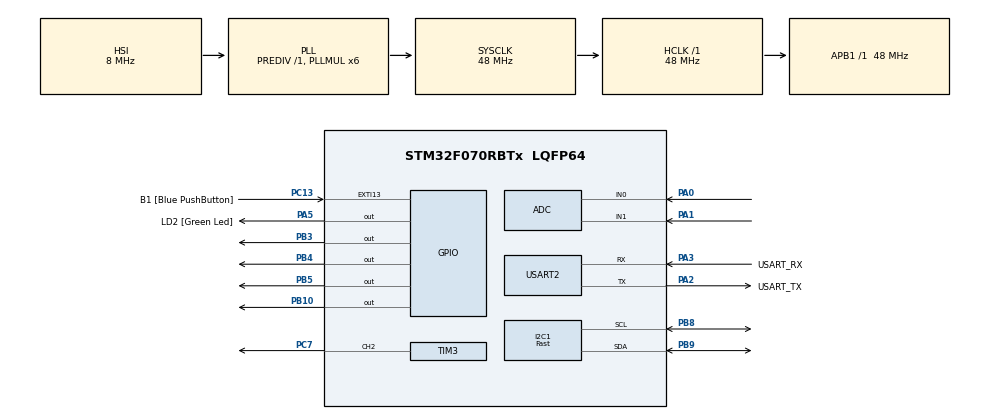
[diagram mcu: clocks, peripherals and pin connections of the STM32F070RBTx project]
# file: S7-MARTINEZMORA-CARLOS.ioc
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ADC.DiscontinuousConvMode=ENABLE
ADC.SamplingTime=ADC_SAMPLETIME_13CYCLES_5
FREERTOS.BinarySemaphores01=Adc_Sem,Dynamic,NULL;Rx_Sem,Dynamic,NULL
FREERTOS.Queues01=lock_queue,5,lock_q,0,Dynamic,NULL,NULL
FREERTOS.Tasks01=defaultTask,8,64,StartDefaultTask,Default,NULL,Dynamic,NULL,NULL;OLED,8,192,oled_update,Default,NULL,Dynamic,NULL,NULL;ADC,8,64,adc_read,Default,NULL,Dynamic,NULL,NULL;SERVO,9,64,servo_pos,Default,NULL,Dynamic,NULL,NULL;STEPPER,8,64,stepper_fx,Default,NULL,Dynamic,NULL,NULL;SERIAL,8,128,serial_fx,Default,NULL,Dynamic,NULL,NULL;LOCK,8,64,servo_lock,Default,NULL,Dynamic,NULL,NULL
FREERTOS.configMINIMAL_STACK_SIZE=64
FREERTOS.configTOTAL_HEAP_SIZE=4096
FREERTOS.configUSE_NEWLIB_REENTRANT=1
I2C1.I2C_Speed_Mode=I2C_Fast
I2C1.Timing=0x0000020B
Mcu.Family=STM32F0
Mcu.Name=STM32F070RBTx
Mcu.Package=LQFP64
NVIC.ADC1_IRQn=true\:3\:0\:false\:false\:true\:true\:true\:true\:true
NVIC.TIM1_BRK_UP_TRG_COM_IRQn=true\:3\:0\:false\:false\:true\:false\:false\:true\:true
NVIC.TimeBase=TIM1_BRK_UP_TRG_COM_IRQn
NVIC.TimeBaseIP=TIM1
NVIC.USART2_IRQn=true\:3\:0\:false\:false\:true\:true\:true\:true\:true
PA0.Mode=IN0
PA0.Signal=ADC_IN0
PA1.Mode=IN1
PA1.Signal=ADC_IN1
PA13.GPIO_Label=TMS
PA13.Mode=Serial_Wire
PA13.Signal=SYS_SWDIO
PA14.GPIO_Label=TCK
PA14.Mode=Serial_Wire
PA14.Signal=SYS_SWCLK
PA2.GPIO_Label=USART_TX
PA2.Mode=Asynchronous
PA2.Signal=USART2_TX
PA3.GPIO_Label=USART_RX
PA3.Mode=Asynchronous
PA3.Signal=USART2_RX
PA5.GPIO_Label=LD2 [Green Led]
PA5.Signal=GPIO_Output
PB10.Signal=GPIO_Output
PB3.Signal=GPIO_Output
PB4.Signal=GPIO_Output
PB5.Signal=GPIO_Output
PB8.Mode=I2C
PB8.Signal=I2C1_SCL
PB9.Mode=I2C
PB9.Signal=I2C1_SDA
PC13.GPIO_Label=B1 [Blue PushButton]
PC13.GPIO_ModeDefaultEXTI=GPIO_MODE_IT_FALLING
PC13.Signal=GPXTI13
PC14-OSC32_IN.GPIO_Label=RCC_OSC32_IN
PC14-OSC32_IN.Mode=LSE-External-Oscillator
PC14-OSC32_IN.Signal=RCC_OSC32_IN
PC15-OSC32_OUT.GPIO_Label=RCC_OSC32_OUT
PC15-OSC32_OUT.Mode=LSE-External-Oscillator
PC15-OSC32_OUT.Signal=RCC_OSC32_OUT
PC7.Signal=S_TIM3_CH2
PF0-OSC_IN.GPIO_Label=RCC_OSC_IN
PF0-OSC_IN.Mode=HSE-External-Clock-Source
PF0-OSC_IN.Signal=RCC_OSC_IN
PF1-OSC_OUT.GPIO_Label=RCC_OSC_OUT
PF1-OSC_OUT.Signal=RCC_OSC_OUT
ProjectManager.HeapSize=0x200
ProjectManager.StackSize=0x400
ProjectManager.TargetToolchain=STM32CubeIDE
RCC.AHBFreq_Value=48000000
RCC.APB1Freq_Value=48000000
RCC.APB1TimFreq_Value=48000000
RCC.HCLKFreq_Value=48000000
RCC.PLLMUL=RCC_PLL_MUL6
RCC.SYSCLKFreq_VALUE=48000000
RCC.SYSCLKSource=RCC_SYSCLKSOURCE_PLLCLK
SH.S_TIM3_CH2.0=TIM3_CH2,PWM Generation2 CH2
TIM3.Channel-PWM\ Generation2\ CH2=TIM_CHANNEL_2
TIM3.Period=2000-1
TIM3.Prescaler=480-1
USART2.VirtualMode-Asynchronous=VM_ASYNC
VP_FREERTOS_VS_CMSIS_V2.Mode=CMSIS_V2
VP_SYS_VS_tim1.Mode=TIM1
VP_TIM3_VS_ClockSourceINT.Mode=Internal
board=NUCLEO-F070RB

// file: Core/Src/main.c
/* USER CODE BEGIN Header */
/**
  ******************************************************************************
  * @file           : main.c
  * @brief          : Main program body
  ******************************************************************************
  * @attention
  *
  * Copyright (c) 2022 STMicroelectronics.
  * All rights reserved.
  *
  * This software is licensed under terms that can be found in the LICENSE file
  * in the root directory of this software component.
  * If no LICENSE file comes with this software, it is provided AS-IS.
  *
  ******************************************************************************
  */
/* USER CODE END Header */
#include "main.h"
#include "cmsis_os.h"

/* USER CODE BEGIN Includes */
#include "u8g2.h"
#include "ICI2022.h"
#include <stdbool.h>
#include <stdio.h>
#include <stdlib.h>

/* USER CODE END Includes */

ADC_HandleTypeDef hadc;

I2C_HandleTypeDef hi2c1;

TIM_HandleTypeDef htim3;

UART_HandleTypeDef huart2;

/* Definitions for defaultTask */
osThreadId_t defaultTaskHandle;
const osThreadAttr_t defaultTask_attributes = {
  .name = "defaultTask",
  .stack_size = 64 * 4,
  .priority = (osPriority_t) osPriorityLow,
};
/* Definitions for OLED */
osThreadId_t OLEDHandle;
const osThreadAttr_t OLED_attributes = {
  .name = "OLED",
  .stack_size = 192 * 4,
  .priority = (osPriority_t) osPriorityLow,
};
/* Definitions for ADC */
osThreadId_t ADCHandle;
const osThreadAttr_t ADC_attributes = {
  .name = "ADC",
  .stack_size = 64 * 4,
  .priority = (osPriority_t) osPriorityLow,
};
/* Definitions for SERVO */
osThreadId_t SERVOHandle;
const osThreadAttr_t SERVO_attributes = {
  .name = "SERVO",
  .stack_size = 64 * 4,
  .priority = (osPriority_t) osPriorityLow1,
};
/* Definitions for STEPPER */
osThreadId_t STEPPERHandle;
const osThreadAttr_t STEPPER_attributes = {
  .name = "STEPPER",
  .stack_size = 64 * 4,
  .priority = (osPriority_t) osPriorityLow,
};
/* Definitions for SERIAL */
osThreadId_t SERIALHandle;
const osThreadAttr_t SERIAL_attributes = {
  .name = "SERIAL",
  .stack_size = 128 * 4,
  .priority = (osPriority_t) osPriorityLow,
};
/* Definitions for LOCK */
osThreadId_t LOCKHandle;
const osThreadAttr_t LOCK_attributes = {
  .name = "LOCK",
  .stack_size = 64 * 4,
  .priority = (osPriority_t) osPriorityLow,
};
/* Definitions for lock_queue */
osMessageQueueId_t lock_queueHandle;
const osMessageQueueAttr_t lock_queue_attributes = {
  .name = "lock_queue"
};
/* Definitions for Adc_Sem */
osSemaphoreId_t Adc_SemHandle;
const osSemaphoreAttr_t Adc_Sem_attributes = {
  .name = "Adc_Sem"
};
/* Definitions for Rx_Sem */
osSemaphoreId_t Rx_SemHandle;
const osSemaphoreAttr_t Rx_Sem_attributes = {
  .name = "Rx_Sem"
};
/* USER CODE BEGIN PV */
static adc_q adc_value = {0, 0, 0.0, 0.0, true};
static lock_q segvel_value;
static uint8_t buf[5];
static unsigned short periodo = 2;
static uint16_t periodo_temp = 100;
static enum giro giro_stepper;
u8g2_t u8g2;
/* USER CODE END PV */

void SystemClock_Config(void);
static void MX_GPIO_Init(void);
static void MX_USART2_UART_Init(void);
static void MX_ADC_Init(void);
static void MX_I2C1_Init(void);
static void MX_TIM3_Init(void);
void StartDefaultTask(void *argument);
void oled_update(void *argument);
void adc_read(void *argument);
void servo_pos(void *argument);
void stepper_fx(void *argument);
void serial_fx(void *argument);
void servo_lock(void *argument);

int main(void)
{

  /* MCU Configuration--------------------------------------------------------*/

  /* Reset of all peripherals, Initializes the Flash interface and the Systick. */
  HAL_Init();

  /* Configure the system clock */
  SystemClock_Config();

  /* Initialize all configured peripherals */
  MX_GPIO_Init();
  MX_USART2_UART_Init();
  MX_ADC_Init();
  MX_I2C1_Init();
  MX_TIM3_Init();
  /* USER CODE BEGIN 2 */
  ICI2022_Init(&hi2c1, &huart2);
  calc_rpm();

  /* USER CODE END 2 */

  /* Init scheduler */
  osKernelInitialize();

  /* Create the semaphores(s) */
  /* creation of Adc_Sem */
  Adc_SemHandle = osSemaphoreNew(1, 1, &Adc_Sem_attributes);

  /* creation of Rx_Sem */
  Rx_SemHandle = osSemaphoreNew(1, 1, &Rx_Sem_attributes);

  /* USER CODE BEGIN RTOS_SEMAPHORES */
  /* add semaphores, ... */
  Rx_SemHandle = osSemaphoreNew(1, 0, &Rx_Sem_attributes);
  /* USER CODE END RTOS_SEMAPHORES */

  /* Create the queue(s) */
  /* creation of lock_queue */
  lock_queueHandle = osMessageQueueNew (5, sizeof(lock_q), &lock_queue_attributes);

  /* Create the thread(s) */
  /* creation of defaultTask */
  defaultTaskHandle = osThreadNew(StartDefaultTask, NULL, &defaultTask_attributes);

  /* creation of OLED */
  OLEDHandle = osThreadNew(oled_update, NULL, &OLED_attributes);

  /* creation of ADC */
  ADCHandle = osThreadNew(adc_read, NULL, &ADC_attributes);

  /* creation of SERVO */
  SERVOHandle = osThreadNew(servo_pos, NULL, &SERVO_attributes);

  /* creation of STEPPER */
  STEPPERHandle = osThreadNew(stepper_fx, NULL, &STEPPER_attributes);

  /* creation of SERIAL */
  SERIALHandle = osThreadNew(serial_fx, NULL, &SERIAL_attributes);

  /* creation of LOCK */
  LOCKHandle = osThreadNew(servo_lock, NULL, &LOCK_attributes);

  /* Start scheduler */
  osKernelStart();

  /* We should never get here as control is now taken by the scheduler */
  /* Infinite loop */
  while (1)
  {

  }
}

void SystemClock_Config(void)
{
  RCC_OscInitTypeDef RCC_OscInitStruct = {0};
  RCC_ClkInitTypeDef RCC_ClkInitStruct = {0};
  RCC_PeriphCLKInitTypeDef PeriphClkInit = {0};

  /** Initializes the RCC Oscillators according to the specified parameters
  * in the RCC_OscInitTypeDef structure.
  */
  RCC_OscInitStruct.OscillatorType = RCC_OSCILLATORTYPE_HSI|RCC_OSCILLATORTYPE_HSI14;
  RCC_OscInitStruct.HSIState = RCC_HSI_ON;
  RCC_OscInitStruct.HSI14State = RCC_HSI14_ON;
  RCC_OscInitStruct.HSICalibrationValue = RCC_HSICALIBRATION_DEFAULT;
  RCC_OscInitStruct.HSI14CalibrationValue = 16;
  RCC_OscInitStruct.PLL.PLLState = RCC_PLL_ON;
  RCC_OscInitStruct.PLL.PLLSource = RCC_PLLSOURCE_HSI;
  RCC_OscInitStruct.PLL.PLLMUL = RCC_PLL_MUL6;
  RCC_OscInitStruct.PLL.PREDIV = RCC_PREDIV_DIV1;
  if (HAL_RCC_OscConfig(&RCC_OscInitStruct) != HAL_OK)
  {
    Error_Handler();
  }

  /** Initializes the CPU, AHB and APB buses clocks
  */
  RCC_ClkInitStruct.ClockType = RCC_CLOCKTYPE_HCLK|RCC_CLOCKTYPE_SYSCLK
                              |RCC_CLOCKTYPE_PCLK1;
  RCC_ClkInitStruct.SYSCLKSource = RCC_SYSCLKSOURCE_PLLCLK;
  RCC_ClkInitStruct.AHBCLKDivider = RCC_SYSCLK_DIV1;
  RCC_ClkInitStruct.APB1CLKDivider = RCC_HCLK_DIV1;

  if (HAL_RCC_ClockConfig(&RCC_ClkInitStruct, FLASH_LATENCY_1) != HAL_OK)
  {
    Error_Handler();
  }
  PeriphClkInit.PeriphClockSelection = RCC_PERIPHCLK_I2C1;
  PeriphClkInit.I2c1ClockSelection = RCC_I2C1CLKSOURCE_HSI;
  if (HAL_RCCEx_PeriphCLKConfig(&PeriphClkInit) != HAL_OK)
  {
    Error_Handler();
  }
}

static void MX_ADC_Init(void)
{

  ADC_ChannelConfTypeDef sConfig = {0};

  /** Configure the global features of the ADC (Clock, Resolution, Data Alignment and number of conversion)
  */
  hadc.Instance = ADC1;
  hadc.Init.ClockPrescaler = ADC_CLOCK_ASYNC_DIV1;
  hadc.Init.Resolution = ADC_RESOLUTION_12B;
  hadc.Init.DataAlign = ADC_DATAALIGN_RIGHT;
  hadc.Init.ScanConvMode = ADC_SCAN_DIRECTION_FORWARD;
  hadc.Init.EOCSelection = ADC_EOC_SINGLE_CONV;
  hadc.Init.LowPowerAutoWait = DISABLE;
  hadc.Init.LowPowerAutoPowerOff = DISABLE;
  hadc.Init.ContinuousConvMode = DISABLE;
  hadc.Init.DiscontinuousConvMode = ENABLE;
  hadc.Init.ExternalTrigConv = ADC_SOFTWARE_START;
  hadc.Init.ExternalTrigConvEdge = ADC_EXTERNALTRIGCONVEDGE_NONE;
  hadc.Init.DMAContinuousRequests = DISABLE;
  hadc.Init.Overrun = ADC_OVR_DATA_PRESERVED;
  if (HAL_ADC_Init(&hadc) != HAL_OK)
  {
    Error_Handler();
  }

  /** Configure for the selected ADC regular channel to be converted.
  */
  sConfig.Channel = ADC_CHANNEL_0;
  sConfig.Rank = ADC_RANK_CHANNEL_NUMBER;
  sConfig.SamplingTime = ADC_SAMPLETIME_13CYCLES_5;
  if (HAL_ADC_ConfigChannel(&hadc, &sConfig) != HAL_OK)
  {
    Error_Handler();
  }

  /** Configure for the selected ADC regular channel to be converted.
  */
  sConfig.Channel = ADC_CHANNEL_1;
  if (HAL_ADC_ConfigChannel(&hadc, &sConfig) != HAL_OK)
  {
    Error_Handler();
  }

}

static void MX_I2C1_Init(void)
{

  hi2c1.Instance = I2C1;
  hi2c1.Init.Timing = 0x0000020B;
  hi2c1.Init.OwnAddress1 = 0;
  hi2c1.Init.AddressingMode = I2C_ADDRESSINGMODE_7BIT;
  hi2c1.Init.DualAddressMode = I2C_DUALADDRESS_DISABLE;
  hi2c1.Init.OwnAddress2 = 0;
  hi2c1.Init.OwnAddress2Masks = I2C_OA2_NOMASK;
  hi2c1.Init.GeneralCallMode = I2C_GENERALCALL_DISABLE;
  hi2c1.Init.NoStretchMode = I2C_NOSTRETCH_DISABLE;
  if (HAL_I2C_Init(&hi2c1) != HAL_OK)
  {
    Error_Handler();
  }

  /** Configure Analogue filter
  */
  if (HAL_I2CEx_ConfigAnalogFilter(&hi2c1, I2C_ANALOGFILTER_ENABLE) != HAL_OK)
  {
    Error_Handler();
  }

  /** Configure Digital filter
  */
  if (HAL_I2CEx_ConfigDigitalFilter(&hi2c1, 0) != HAL_OK)
  {
    Error_Handler();
  }

}

static void MX_TIM3_Init(void)
{

  TIM_ClockConfigTypeDef sClockSourceConfig = {0};
  TIM_MasterConfigTypeDef sMasterConfig = {0};
  TIM_OC_InitTypeDef sConfigOC = {0};

  htim3.Instance = TIM3;
  htim3.Init.Prescaler = 480-1;
  htim3.Init.CounterMode = TIM_COUNTERMODE_UP;
  htim3.Init.Period = 2000-1;
  htim3.Init.ClockDivision = TIM_CLOCKDIVISION_DIV1;
  htim3.Init.AutoReloadPreload = TIM_AUTORELOAD_PRELOAD_DISABLE;
  if (HAL_TIM_Base_Init(&htim3) != HAL_OK)
  {
    Error_Handler();
  }
  sClockSourceConfig.ClockSource = TIM_CLOCKSOURCE_INTERNAL;
  if (HAL_TIM_ConfigClockSource(&htim3, &sClockSourceConfig) != HAL_OK)
  {
    Error_Handler();
  }
  if (HAL_TIM_PWM_Init(&htim3) != HAL_OK)
  {
    Error_Handler();
  }
  sMasterConfig.MasterOutputTrigger = TIM_TRGO_RESET;
  sMasterConfig.MasterSlaveMode = TIM_MASTERSLAVEMODE_DISABLE;
  if (HAL_TIMEx_MasterConfigSynchronization(&htim3, &sMasterConfig) != HAL_OK)
  {
    Error_Handler();
  }
  sConfigOC.OCMode = TIM_OCMODE_PWM1;
  sConfigOC.Pulse = 0;
  sConfigOC.OCPolarity = TIM_OCPOLARITY_HIGH;
  sConfigOC.OCFastMode = TIM_OCFAST_DISABLE;
  if (HAL_TIM_PWM_ConfigChannel(&htim3, &sConfigOC, TIM_CHANNEL_2) != HAL_OK)
  {
    Error_Handler();
  }
  HAL_TIM_MspPostInit(&htim3);

}

static void MX_USART2_UART_Init(void)
{

  huart2.Instance = USART2;
  huart2.Init.BaudRate = 38400;
  huart2.Init.WordLength = UART_WORDLENGTH_8B;
  huart2.Init.StopBits = UART_STOPBITS_1;
  huart2.Init.Parity = UART_PARITY_NONE;
  huart2.Init.Mode = UART_MODE_TX_RX;
  huart2.Init.HwFlowCtl = UART_HWCONTROL_NONE;
  huart2.Init.OverSampling = UART_OVERSAMPLING_16;
  huart2.Init.OneBitSampling = UART_ONE_BIT_SAMPLE_DISABLE;
  huart2.AdvancedInit.AdvFeatureInit = UART_ADVFEATURE_NO_INIT;
  if (HAL_UART_Init(&huart2) != HAL_OK)
  {
    Error_Handler();
  }

}

static void MX_GPIO_Init(void)
{
  GPIO_InitTypeDef GPIO_InitStruct = {0};

  /* GPIO Ports Clock Enable */
  __HAL_RCC_GPIOC_CLK_ENABLE();
  __HAL_RCC_GPIOF_CLK_ENABLE();
  __HAL_RCC_GPIOA_CLK_ENABLE();
  __HAL_RCC_GPIOB_CLK_ENABLE();

  /*Configure GPIO pin Output Level */
  HAL_GPIO_WritePin(LD2_GPIO_Port, LD2_Pin, GPIO_PIN_RESET);

  /*Configure GPIO pin Output Level */
  HAL_GPIO_WritePin(GPIOB, GPIO_PIN_10|GPIO_PIN_3|GPIO_PIN_4|GPIO_PIN_5, GPIO_PIN_RESET);

  /*Configure GPIO pin : B1_Pin */
  GPIO_InitStruct.Pin = B1_Pin;
  GPIO_InitStruct.Mode = GPIO_MODE_IT_FALLING;
  GPIO_InitStruct.Pull = GPIO_NOPULL;
  HAL_GPIO_Init(B1_GPIO_Port, &GPIO_InitStruct);

  /*Configure GPIO pin : LD2_Pin */
  GPIO_InitStruct.Pin = LD2_Pin;
  GPIO_InitStruct.Mode = GPIO_MODE_OUTPUT_PP;
  GPIO_InitStruct.Pull = GPIO_NOPULL;
  GPIO_InitStruct.Speed = GPIO_SPEED_FREQ_LOW;
  HAL_GPIO_Init(LD2_GPIO_Port, &GPIO_InitStruct);

  /*Configure GPIO pins : PB10 PB3 PB4 PB5 */
  GPIO_InitStruct.Pin = GPIO_PIN_10|GPIO_PIN_3|GPIO_PIN_4|GPIO_PIN_5;
  GPIO_InitStruct.Mode = GPIO_MODE_OUTPUT_PP;
  GPIO_InitStruct.Pull = GPIO_NOPULL;
  GPIO_InitStruct.Speed = GPIO_SPEED_FREQ_LOW;
  HAL_GPIO_Init(GPIOB, &GPIO_InitStruct);

}

/* USER CODE BEGIN 4 */

void HAL_ADC_ConvCpltCallback(ADC_HandleTypeDef* hadc)
{
	if(adc_value.first_conv)
	{
		adc_value.adc_ch0 = HAL_ADC_GetValue(hadc);
		adc_value.temp = (adc_value.adc_ch0/4096.0) * 3.3;
		adc_value.temp = adc_value.temp/0.01;
		HAL_ADC_Start_IT(hadc);

	}
	else
	{
		adc_value.adc_ch1 = HAL_ADC_GetValue(hadc);
		adc_value.pot = (adc_value.adc_ch1/4096.0) * 3.3;
		osSemaphoreRelease(Adc_SemHandle);
		HAL_ADC_Stop_IT(hadc);
	}
	adc_value.first_conv = !adc_value.first_conv;

}
void HAL_UARTEx_RxEventCallback(UART_HandleTypeDef *huart, uint16_t Size)
{
	osSemaphoreRelease(Rx_SemHandle);
	HAL_UARTEx_ReceiveToIdle_IT(&huart2, (uint8_t *)buf, 5);
}

/* USER CODE END 4 */

void StartDefaultTask(void *argument)
{
  /* USER CODE BEGIN 5 */
  /* Infinite loop */
  for(;;)
  {
    osDelay(2000);
  }
  /* USER CODE END 5 */
}

void oled_update(void *argument)
{
  /* USER CODE BEGIN oled_update */
	static int needle_offset_x_left;
	static int needle_offset_y_left;
	static int needle_offset_x_right;
	static int needle_offset_y_right;
	static int right_offset = 68;
	static char temp[5];
	static char pos[5];
	static char speed[10];
	static needle left = {
			.small = 10,
			.big = 25,
			.center_x = 29,
			.center_y = 31,
			.start_x = 0,
			.start_y = 0,
			.end_x = 0,
			.end_y = 0,
			.angle = 45 };
	static needle right = {
			.small = 10,
			.big = 25,
			.center_x = 29 + 68,
			.center_y = 31,
			.start_x = 0,
			.start_y = 0,
			.end_x = 0,
			.end_y = 0,
			.angle = 45 };

	u8g2_Setup_ssd1306_i2c_128x64_noname_2(&u8g2, U8G2_R0, u8x8_byte_i2c, u8x8_stm32_gpio_and_delay);
	u8g2_SetI2CAddress(&u8g2, OLED_ADDR);	// 0x78
	u8g2_InitDisplay(&u8g2); // send init sequence to the display, display is in sleep mode after this,
	u8g2_SetPowerSave(&u8g2, 0); // wake up display
	u8g2_SetFont(&u8g2, u8g2_font_5x7_tr);
  /* Infinite loop */
	for(;;)
	{
		left.angle = map(__HAL_TIM_GET_COMPARE(&htim3, TIM_CHANNEL_2), 99, 199, 45, 270+45);
		right.angle = map(rpm[periodo-2], 0, 15, 45, 270+45);

		calc_needle(&left);
		calc_needle(&right);

		sprintf(temp, "%0.2f", adc_value.temp);
		sprintf(pos, "%li", map(__HAL_TIM_GET_COMPARE(&htim3,TIM_CHANNEL_2), 99, 199, 0, 90));
		sprintf(speed, "%0.2fRPM", rpm[periodo-2]);

		if((left.angle > 45 && left.angle < 135) || (left.angle > 225 && left.angle < 315))
		{
			needle_offset_x_left = 0;
			needle_offset_y_left = 1;
		}
		else
		{
			needle_offset_x_left = 1;
			needle_offset_y_left = 0;
		}
		if((right.angle > 45 && right.angle < 135) || (right.angle > 225 && right.angle < 315))
		{
			needle_offset_x_right = 0;
			needle_offset_y_right = 1;
		}
		else
		{
			needle_offset_x_right = 1;
			needle_offset_y_right = 0;
		}

		u8g2_FirstPage(&u8g2);
		do {

			// draw gauges & termometer
			u8g2_DrawBitmap(&u8g2, 0, 0, 64/8, 56, Left_Gauge);
			u8g2_DrawBitmap(&u8g2, 64, 0, 64/8, 56, Right_Gauge);
			u8g2_DrawBitmap(&u8g2, 60, 0, 8/8, 56, Termometer);

			// draw temperature
			u8g2_DrawLine(&u8g2, 64, 49, 64, 39-map(adc_value.adc_ch0, 0, 4096, 0, 49));
			u8g2_DrawStr(&u8g2, 52, 64, temp);

			// draw needle and center circle Left Gauge
			u8g2_DrawLine(&u8g2, left.start_x, left.start_y, left.end_x, left.end_y);
			u8g2_DrawLine(&u8g2, left.start_x + needle_offset_x_left, left.start_y + needle_offset_y_left,
								 left.end_x + needle_offset_x_left, left.end_y + needle_offset_y_left);
			u8g2_DrawStr(&u8g2, 26, 64, pos);

			u8g2_DrawBitmap(&u8g2, 26, 28, 8/8, 8, Contour_Needle);

			// draw needle and center circle Right Gauge
			u8g2_DrawLine(&u8g2, right.start_x, right.start_y, right.end_x, right.end_y);
			u8g2_DrawLine(&u8g2, right.start_x + needle_offset_x_right, right.start_y + needle_offset_y_right,
								 right.end_x + needle_offset_x_right, right.end_y + needle_offset_y_right);
			u8g2_DrawStr(&u8g2, 26 + right_offset, 64, speed);

			u8g2_DrawBitmap(&u8g2, 26 + right_offset, 28, 8/8, 8, Contour_Needle);

		} while (u8g2_NextPage(&u8g2));

		osDelay(250);
	}
  /* USER CODE END oled_update */
}

void adc_read(void *argument)
{
  /* USER CODE BEGIN adc_read */
	HAL_ADCEx_Calibration_Start(&hadc);
	static uint8_t trama[4] = {0x30, 0x00, 0x00, 0xE0};
	static uint32_t timestamp;
	timestamp = HAL_GetTick();
	/* Infinite loop */
	for(;;)
	{
		osSemaphoreAcquire(Adc_SemHandle, osWaitForever);
		HAL_ADC_Start_IT(&hadc);

		if(HAL_GetTick() - timestamp >= 1000)
		{
			trama[1] = (uint8_t)adc_value.temp;
			trama[2] = (uint8_t)((adc_value.temp - trama[1])*100);
			HAL_UART_Transmit(&huart2, trama, 4, 100);
			timestamp = HAL_GetTick();
		}

		osDelay(10);
	}
  /* USER CODE END adc_read */
}

void servo_pos(void *argument)
{
  /* USER CODE BEGIN servo_pos */
	HAL_TIM_PWM_Start(&htim3, TIM_CHANNEL_2);
	/* Infinite loop */
	for(;;)
	{
		__HAL_TIM_SET_COMPARE(&htim3, TIM_CHANNEL_2, map(adc_value.adc_ch1, 0, 4095, 99, 199));
		osDelay(10);

	}
  /* USER CODE END servo_pos */
}

void stepper_fx(void *argument)
{
  /* USER CODE BEGIN stepper_fx */
int ciclo = 0;

/* Infinite loop */
for(;;)
{
	switch(giro_stepper)
	{
	case Horario:
	{
		for(int i = 0; i < 4; i++)
		{
			HAL_GPIO_WritePin(GPIOB, pins[i], matrix_half[ciclo][i]);		// Medios pasos, quitar _half para paso completo
		}
		ciclo++;
		//			if(ciclo > 3) ciclo = 0;											// Pasos completos
		if(ciclo > 7) ciclo = 0;											// Medios pasos
		break;
	}
	case Antihorario:
	{
		for(int i = 0; i < 4; i++)
		{
			HAL_GPIO_WritePin(GPIOB, pins[i], matrix_half[ciclo][i]);		// Medios pasos, quitar _half para paso completo
		}
		ciclo--;
		//			if(ciclo < 0) ciclo = 3;											// Pasos completos
		if(ciclo < 0) ciclo = 7;											// Medios pasos
		break;
	}
	default:
	{
		break;
	}
	}
	osDelay(periodo);
}
  /* USER CODE END stepper_fx */
}

void serial_fx(void *argument)
{
  /* USER CODE BEGIN serial_fx */
	static uint8_t angulo = 0;

	osThreadSuspend(OLEDHandle);
	osThreadSuspend(LOCKHandle);
	u8g2_SetPowerSave(&u8g2, 1); // sleep display
	HAL_UARTEx_ReceiveToIdle_IT(&huart2, (uint8_t *)buf, 5);
	/* Infinite loop */
	for(;;)
	{
		osSemaphoreAcquire(Rx_SemHandle, osWaitForever);
		switch(buf[0])
		{
		case 'P':

			if(buf[3] != 0xE0) break;
			osThreadResume(SERVOHandle);
			osThreadSuspend(LOCKHandle);
			break;

		case 'S':

			if(buf[3] != 0xE0) break;
			osThreadSuspend(SERVOHandle);
			osThreadSuspend(LOCKHandle);
			angulo = map(buf[1], 0, 90, 99, 199);
			__HAL_TIM_SET_COMPARE(&htim3, TIM_CHANNEL_2, angulo);
			break;

		case 'A':

			if(buf[3] != 0xE0) break;
			osThreadSuspend(SERVOHandle);
			osThreadResume(LOCKHandle);

			segvel_value.espera = buf[1];

			segvel_value.velocidad = buf[2];
			if(segvel_value.velocidad == 0) segvel_value.velocidad++;

			segvel_value.espera = segvel_value.espera * 1000;
			segvel_value.velocidad = 1000/segvel_value.velocidad;
			osMessageQueuePut(lock_queueHandle, &segvel_value, 1, 0);
			break;

		case 'D':

			if(buf[3] != 0xE0) break;

			giro_stepper = Horario;
			break;

		case 'I':

			if(buf[3] != 0xE0) break;

			giro_stepper = Antihorario;
			break;

		case 'M':
			if(buf[3] != 0xE0) break;
			osSemaphoreAcquire(Rx_SemHandle, osWaitForever);
			if(buf[1] <= 1)
			{
				periodo = 2;
				break;
			}
			if(buf[1] >= 9)
			{
				periodo = 10;
				break;
			}

			periodo = buf[1] + 1;

			break;

		case 'X':

			if(buf[3] != 0xE0) break;

			osThreadResume(OLEDHandle);
			u8g2_SetPowerSave(&u8g2, 0); // wake up display
			break;

		case 'C':

			if(buf[3] != 0xE0) break;

			osThreadSuspend(OLEDHandle);
			u8g2_SetPowerSave(&u8g2, 1); // sleep display
			break;

		case 'T':

			if(buf[3] != 0xE0) break;

			periodo_temp = buf[1]*10;
			break;

		default:
			break;
		}
		osDelay(1);

	}
  /* USER CODE END serial_fx */
}

void servo_lock(void *argument)
{
  /* USER CODE BEGIN servo_lock */
	enum maquina {
		Reposo, Abriendo, Espera, Cerrando
	} estados;
	estados = Reposo;
	/* Infinite loop */
	for(;;)
	{
		switch(estados)
		{
		case Reposo:
			__HAL_TIM_SET_COMPARE(&htim3,TIM_CHANNEL_2, 99);
			osMessageQueueGet(lock_queueHandle, &segvel_value, (uint8_t *)1, osWaitForever);
			estados = Abriendo;
			break;
		case Abriendo:
			for(int i = 0; i<91; i++)
			{
				__HAL_TIM_SET_COMPARE(&htim3,TIM_CHANNEL_2, map(i, 0, 90, 99, 199));
				osDelay(segvel_value.velocidad);
			}
			estados = Espera;
			break;
		case Espera:
			osDelay(segvel_value.espera);
			estados = Cerrando;
			break;
		case Cerrando:
			for(int i = 90; i>=0; i--)
			{
				__HAL_TIM_SET_COMPARE(&htim3,TIM_CHANNEL_2, map(i, 0, 90, 99, 199));
				osDelay(segvel_value.velocidad);
			}
			estados = Reposo;
			if(osMessageQueueGetCount(lock_queueHandle) == 0) osThreadSuspend(LOCKHandle);
			break;
		default:
			break;

		}
		osDelay(1);
	}
  /* USER CODE END servo_lock */
}

void HAL_TIM_PeriodElapsedCallback(TIM_HandleTypeDef *htim)
{
  if (htim->Instance == TIM1) {
    HAL_IncTick();
  }
}

void Error_Handler(void)
{
  __disable_irq();
  while (1)
  {
  }
}
